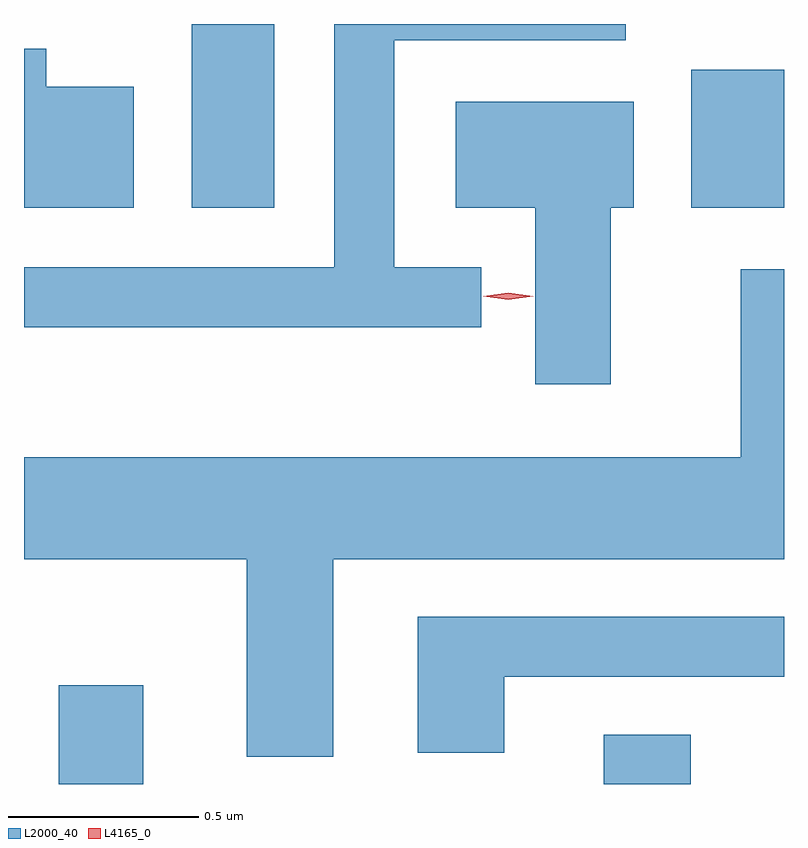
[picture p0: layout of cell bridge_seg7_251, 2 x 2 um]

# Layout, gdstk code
import gdstk
lib = gdstk.Library(unit=1e-6, precision=1e-09)
def R(c, l, rs):  # rectangles x0, y0, x1, y1
    for r in rs: c.add(gdstk.rectangle(r[:2], r[2:], *l))
def P(c, l, *ps):  # polygons
    for p in ps: c.add(gdstk.Polygon(p, *l))
L2000_40 = (2000, 40)
L4165_0 = (4165, 0)

bridge_seg7_251 = lib.new_cell('bridge_seg7_251')
R(bridge_seg7_251, L2000_40, [(1763.006,1720.384,1763.229,1720.644), (1764.441,1720.384,1764.669,1720.514), (1763.356,1721.901,1763.574,1722.384), (1764.671,1721.901,1764.915,1722.264)])
P(bridge_seg7_251, L2000_40, [(1764.118,1721.744),(1763.889,1721.744),(1763.889,1722.341),(1764.499,1722.341),(1764.499,1722.384),(1763.731,1722.384),(1763.731,1721.744),(1762.915,1721.744),(1762.915,1721.586),(1764.118,1721.586)],
  [(1763.204,1722.219),(1762.974,1722.219),(1762.974,1722.319),(1762.915,1722.319),(1762.915,1721.901),(1763.204,1721.901)],
  [(1764.459,1721.901),(1764.519,1721.901),(1764.519,1722.179),(1764.051,1722.179),(1764.051,1721.901),(1764.261,1721.901),(1764.261,1721.436),(1764.459,1721.436)],
  [(1764.915,1721.739),(1764.801,1721.739),(1764.801,1721.244),(1762.915,1721.244),(1762.915,1720.976),(1763.501,1720.976),(1763.501,1720.456),(1763.729,1720.456),(1763.729,1720.976),(1764.915,1720.976)],
  [(1764.179,1720.666),(1764.915,1720.666),(1764.915,1720.824),(1763.951,1720.824),(1763.951,1720.466),(1764.179,1720.466)])
P(bridge_seg7_251, L4165_0, [(1764.189,1721.658),(1764.123,1721.667),(1764.122,1721.667),(1764.123,1721.668),(1764.189,1721.677),(1764.255,1721.668),(1764.255,1721.668),(1764.255,1721.667)])

lib.write_gds('bridge_seg7_251.gds')
